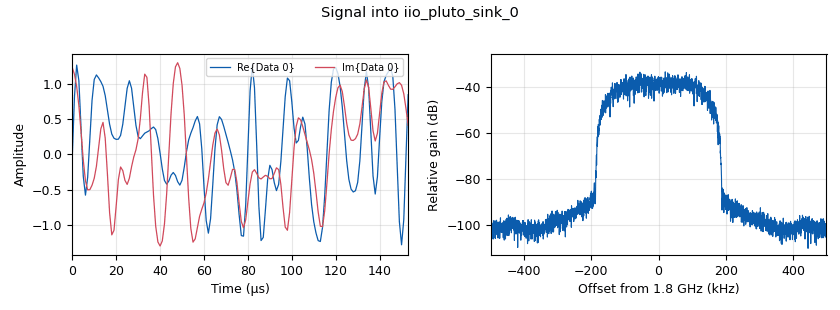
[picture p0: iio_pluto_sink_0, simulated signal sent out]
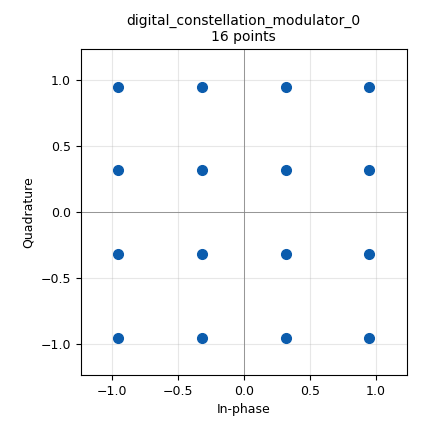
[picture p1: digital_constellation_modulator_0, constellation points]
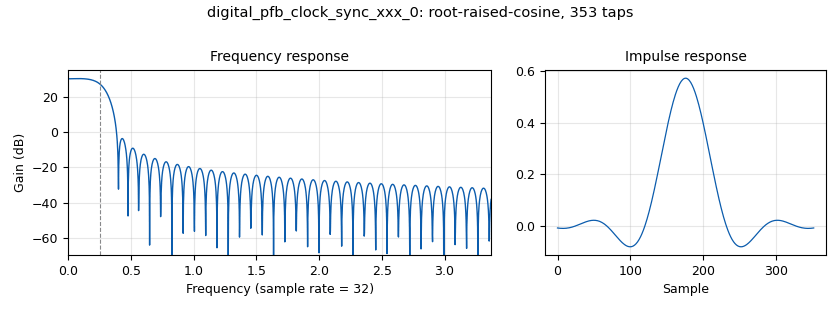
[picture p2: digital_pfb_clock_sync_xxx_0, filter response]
options:
  parameters:
    generate_options: qt_gui
    id: QPSK
    output_language: python
    title: Not titled yet
  states: {}

blocks:
- name: RRC_Taps
  id: variable
  parameters:
    value: firdes.root_raised_cosine(32,32,0.5,excess_bw,11*32)
  states: {}
- name: excess_bw
  id: variable
  parameters:
    value: '0.5'
  states: {}
- name: lms_16qam
  id: variable_adaptive_algorithm
  parameters:
    cons: qam_16
    modulus: '4'
    step_size: '.0001'
    type: lms
  states: {}
- name: qam_16
  id: variable_constellation
  parameters:
    dims: '2'
    precision: '2'
    rot_sym: '16'
    type: 16qam
  states: {}
- name: samp_rate
  id: variable
  parameters:
    value: '32000'
  states: {}
- name: sps
  id: variable
  parameters:
    value: '4'
  states: {}
- name: analog_random_source_x_0
  id: analog_random_source_x
  parameters:
    max: '256'
    min: '0'
    num_samps: '32000'
    repeat: 'True'
    type: byte
  states: {}
- name: blocks_unpacked_to_packed_xx_0
  id: blocks_unpacked_to_packed_xx
  parameters:
    bits_per_chunk: sps
    endianness: gr.GR_MSB_FIRST
    type: byte
  states: {}
- name: digital_constellation_modulator_0
  id: digital_constellation_modulator
  parameters:
    constellation: qam_16
    differential: 'True'
    excess_bw: excess_bw
    samples_per_symbol: sps
  states: {}
- name: digital_costas_loop_cc_0
  id: digital_costas_loop_cc
  parameters:
    order: '16'
    use_snr: 'True'
    w: '0.0628'
  states: {state: disabled}
- name: digital_linear_equalizer_0
  id: digital_linear_equalizer
  parameters:
    alg: lms_16qam
    num_taps: '15'
    sps: sps
  states: {}
- name: digital_pfb_clock_sync_xxx_0
  id: digital_pfb_clock_sync_xxx
  parameters:
    filter_size: '32'
    init_phase: '16'
    loop_bw: '0.0628'
    max_dev: '1.5'
    osps: sps
    sps: sps
    taps: RRC_Taps
    type: ccf
  states: {}
- name: digital_pfb_clock_sync_xxx_1
  id: digital_pfb_clock_sync_xxx
  parameters:
    filter_size: '32'
    init_phase: '16'
    loop_bw: '0.0628'
    max_dev: '1.5'
    osps: '4'
    sps: sps
    taps: RRC_Taps
    type: ccf
  states: {}
- name: iio_pluto_sink_0
  id: iio_pluto_sink
  parameters:
    attenuation1: '10.0'
    bandwidth: '20000000'
    buffer_size: '32768'
    cyclic: 'False'
    filter_source: '''Auto'''
    frequency: '1800000000'
    samplerate: '1000000'
    type: fc32
    uri: usb:1.13.5
  states: {}
- name: iio_pluto_source_0
  id: iio_pluto_source
  parameters:
    bandwidth: '20000000'
    bbdc: 'True'
    buffer_size: '32768'
    filter_source: '''Auto'''
    frequency: '1800000000'
    gain1: '''fast_attack'''
    quadrature: 'True'
    rfdc: 'True'
    samplerate: '1000000'
    type: fc32
    uri: usb:1.13.5
  states: {}
- name: qtgui_const_sink_x_0
  id: qtgui_const_sink_x
  parameters:
    size: '1024'
    type: complex
  states: {}
- name: qtgui_const_sink_x_0_0
  id: qtgui_const_sink_x
  parameters:
    size: '1024'
    type: complex
  states: {state: disabled}
- name: qtgui_freq_sink_x_0
  id: qtgui_freq_sink_x
  parameters:
    autoscale: 'True'
    average: '0.1'
    bw: '10000000'
    fc: '0'
    fftsize: '1024'
    type: complex
  states: {}
- name: qtgui_freq_sink_x_0_0
  id: qtgui_freq_sink_x
  parameters:
    autoscale: 'True'
    average: '0.1'
    bw: '100000'
    fc: '0'
    fftsize: '1024'
    type: complex
  states: {state: disabled}
- name: qtgui_time_sink_x_0
  id: qtgui_time_sink_x
  parameters:
    size: '1024'
    srate: samp_rate
    type: complex
    ymax: '5'
    ymin: '-5'
  states: {}
- name: qtgui_time_sink_x_0_0
  id: qtgui_time_sink_x
  parameters:
    size: '1024'
    srate: samp_rate
    type: complex
    ymax: '5'
    ymin: '-5'
  states: {state: disabled}

connections:
- [analog_random_source_x_0, '0', blocks_unpacked_to_packed_xx_0, '0']
- [blocks_unpacked_to_packed_xx_0, '0', digital_constellation_modulator_0, '0']
- [digital_constellation_modulator_0, '0', digital_pfb_clock_sync_xxx_1, '0']
- [digital_costas_loop_cc_0, '0', qtgui_const_sink_x_0, '0']
- [digital_costas_loop_cc_0, '0', qtgui_freq_sink_x_0, '0']
- [digital_costas_loop_cc_0, '0', qtgui_time_sink_x_0, '0']
- [digital_linear_equalizer_0, '0', digital_costas_loop_cc_0, '0']
- [digital_linear_equalizer_0, '0', qtgui_const_sink_x_0, '0']
- [digital_linear_equalizer_0, '0', qtgui_freq_sink_x_0, '0']
- [digital_linear_equalizer_0, '0', qtgui_time_sink_x_0, '0']
- [digital_pfb_clock_sync_xxx_0, '0', digital_linear_equalizer_0, '0']
- [digital_pfb_clock_sync_xxx_1, '0', iio_pluto_sink_0, '0']
- [digital_pfb_clock_sync_xxx_1, '0', qtgui_const_sink_x_0_0, '0']
- [digital_pfb_clock_sync_xxx_1, '0', qtgui_freq_sink_x_0_0, '0']
- [digital_pfb_clock_sync_xxx_1, '0', qtgui_time_sink_x_0_0, '0']
- [iio_pluto_source_0, '0', digital_pfb_clock_sync_xxx_0, '0']

metadata:
  file_format: 1
  grc_version: 3.10.7.0
